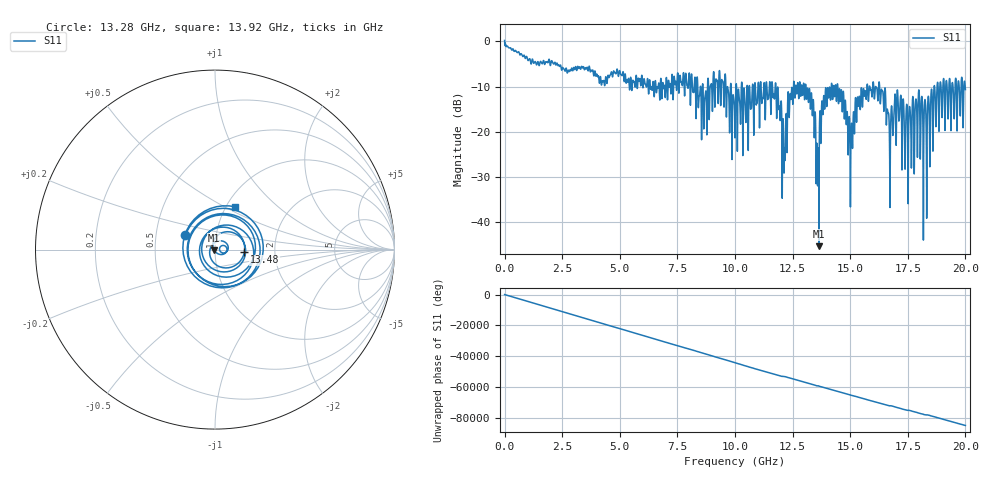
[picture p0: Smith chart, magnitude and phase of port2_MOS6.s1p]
! MS46122B
! 2250307/22442219
! 6/14/2025 10:20:10 AM
! C:\USERS\SPARKY\DOCUMENTS\VNA_DATA\JUNE14_2025\295K\PORT2_MOS6.S1P
! CHANNEL.1
! TR.MEASUREMENT
! RAW.DATA
# GHZ S RI R 50.0
! FREQ.GHZ  S11RE  S11IM
!; PortSelection: Port_1
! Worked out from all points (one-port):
!   10001 points, 1 MHz to 20 GHz, reference 50 ohm
!   lowest |S11| = -45.2 dB at 13.64 GHz (marker M1), VSWR 1.01, Z = 49.6 - j0.391 ohm
!   |S11| at or under -10 dB: 13.08 GHz to 14.18 GHz (1.098 GHz wide, 8.05 % of centre); 14.46 GHz to 15.73 GHz (1.265 GHz wide, 8.38 % of centre); 16.28 GHz to 18.64 GHz (2.366 GHz wide, 13.6 % of centre) (the widest 3 of 77)
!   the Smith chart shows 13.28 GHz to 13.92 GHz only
!   S11 on the Smith chart (normalised r, x): 13.28 GHz: 0.71, +0.12; 13.48 GHz: 1.39, -0.04; 13.92 GHz: 1.10, +0.57
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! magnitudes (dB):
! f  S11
! 1 MHz  0.2
! 2.501 GHz  -6.0
! 5.001 GHz  -6.5
! 7.501 GHz  -7.4
! 8.709 GHz  -12.0
! 9.395 GHz  -11.3
! 10 GHz  -21.2
! 11.68 GHz  -11.7
! 11.93 GHz  -14.4
! 12.13 GHz  -29.1
! 12.5 GHz  -13.3
! 13.28 GHz  -14.7
! 13.48 GHz  -15.7
! 13.64 GHz  -45.2
! 13.92 GHz  -11.6
! 14.62 GHz  -10.8
! 15 GHz  -27.2
! 15.31 GHz  -12.8
! 15.92 GHz  -11.1
! 16.44 GHz  -13.2
! 16.78 GHz  -14.7
! 16.99 GHz  -23.0
! 17.44 GHz  -14.6
! 17.5 GHz  -22.2
! 18.04 GHz  -25.8
! 18.25 GHz  -12.9
! 18.72 GHz  -18.9
! 20 GHz  -10.7
